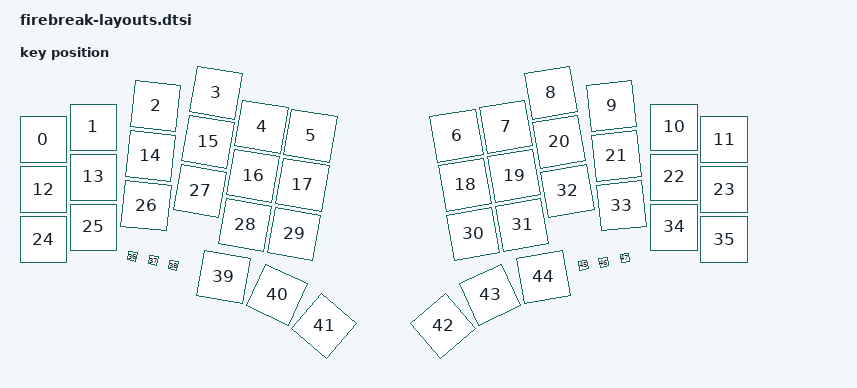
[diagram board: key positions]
// https://zmk.dev/docs/development/hardware-integration/physical-layouts
// https://zmk-physical-layout-converter.streamlit.app/?layout=H4sIAAAAAAACA5VXPY_bMAzd71cYmS-CKIoU1a17gS7tUBQdunUoUCBt0R6C_PfSTk4fLh3FXmI75CPF90jJ56dpOnz_-vLj96-fhzfTWR_1xbu3n95__FCei4m--Xx7M03n6fBXX4Dzz9PhRe-CY0nT5XltEVwgvNl4FxLk9mL956T_8IJzujqkxeF09UgpGKhY4qIT0ts_V_j59lu9naHBV2x0oUCrI3e5WNkDOEg1EtyNdGxDqSfm3cEwwbBWR-6iyOJyt1qg5AQcEOVLScFltKn0RAUlsO8WZDFJi_3p6pBWDkaE6IKPJQtmMDiMLi02N1RgMIDIgUgBkmiJgbQQUoEwxjY9MVDFRSQDtSNetHq0Cza7GIxFd6jZ5TBatIqBWEYEdfJRSll2UQTYaGlLKdBoaWssNH3F6eEODi76XLsqQddWbI4KBqyhhE1NAZRe1QdhU5yluNF5ZN9cr6kGavUFUjFp5WDKK0ccRTi2IVQ5EXfFmFcNYJSjH17eEcCoILN6HuWwh1dxQtzFYjfCYDjCwoYwo8NCotecbTFI7Yl5_rPZs4HYAFo1bVqM7iJ1DbWVd12Z37BAB5hqWyZz9-PF5Nbssd-RxByjSKEENluHdP8NdY3IprBDs6_ZkhPdu2CAo_ZRjEWutZtl3zI7CvxwpvkN-VGDosOCU9OLr0M9Npmyg3oc0WnRO5h19AP4Y-xKSnvQuxbbWiNqPanYeFNlmameSLrdT69o8wqU_0Nd08qU9-GiQ191l4W8UbI-d_GNCKNsjFBs1WLDrpOXSvUWsO6JVE8_oSOs4HbnK6ZYQdPKwYxQyqxTl3bsuhKacZ3D-CBXznGaZbTHLDVbAEQ2O8qHiiPBPA_304hCg4orD7OnKOdRiNVU9znvipEdiVWOtUa8DCsyn_HSoxSuP0jEx10sqktMI0GuPkdyuqfIW4Qvy-_8dHm6_AMUz_zOhg4AAA%3D%3D
// https://zmk-physical-layout-converter.streamlit.app/?layout=H4sIAAAAAAACA5VWTW_bMAy991cYOTeCKIoUtfP-xbBDDxt2KDCga7EVQf77aMfVh8NUsS-RhedHkXyPyulhmg7PT--_317_HL5MJ33Vja8_fj69Pb-WjYLRnW_rzjSdpsM_3fDOP06H92WVMU3nxy0CGgSLhQguEBZMSEHXL7rm5cuXCyQtkJcLJqVg8KCLTIXHryzgKw26vCBWmpj7Jxqk0SFLTSCxQRudLJiFFhwkNojIIYVCJBYPOVkgKw9aNKIFgmuaY8sjWiAY8GQtOht5dURZy86jxPQDoHxV945I17xgdlQe9ORNqlUXx0YYCpKa6y1lQHAccCBDwA5kq7nqHYZ6h5t6B4oFEzhZeucFshY-cfLNA6b40ddiZSFT_uIbXUQhU_DB19Mxgyn45MvxNB0GU_AgUogkkql4FqlEGDthiKn_iGSwbgyQkXbRZheDkfTGDTmMklY8tiISumEHCTjqhGo7JkMnG_3ntEsonRfgHi_A0Ath6IVw0wueqGBCKXznBaKmmYl928xkegGwFi4n0wqMqZJGziOFRFdsoclE-x6optUzRPsa8KHyCJqmoNDwYOjOZl8KlPM16Ua9PuddrNmRWClvpexlmLWiohgt2VJl2dcUlT-V67nVT-cRFRnLLgV1Jgn3mOSWBXRQfOSt8Hn593KdzZL-VZdbEWj6vmlXAh61S32SS6REOyJJaALlMLaXL3Hk_jjo6sjTD_vm2nEYsNZObMsBFFZ9ETatWzSiLsYP8QVqPQdSaQi5HaNk-rj2XvnLcI7N4dhBTVkjdMMZTB97g_IYu6uN9jHmiEbuxzZ5vfwi7sp-bgGA0ZutoQlg1B2A1iICnwqq59d_iHmfpuaBke51yTaY-LjLKPPgudf7fSwdZRA_c_8a6vvyO7-dH87_AddPk_7PDQAA
#include <physical_layouts.dtsi>

/ {
    physical_layout0: physical_layout_0 {
        compatible = "zmk,physical-layout";
        display-name = "Default";

        kscan = <&kscan0>;
        transform = <&keymap_transform0>;

        keys  //                     w   h    x    y     rot    rx    ry
            = <&key_physical_attrs 100 100    0   94       0     0     0>
            , <&key_physical_attrs 100 100  100   69       0     0     0>
            , <&key_physical_attrs 100 100  225   27     600   275    77>
            , <&key_physical_attrs 100 100  346    0    1000   396    50>
            , <&key_physical_attrs 100 100  437   68    1000   487   118>
            , <&key_physical_attrs 100 100  535   86    1000   585   136>
            , <&key_physical_attrs 100 100  827   86 (-1000)   877   136>
            , <&key_physical_attrs 100 100  926   68 (-1000)   976   118>
            , <&key_physical_attrs 100 100 1016    0 (-1000)  1066    50>
            , <&key_physical_attrs 100 100 1137   27  (-600)  1187    77>
            , <&key_physical_attrs 100 100 1262   69       0     0     0>
            , <&key_physical_attrs 100 100 1362   94       0     0     0>
            , <&key_physical_attrs 100 100    0  194       0     0     0>
            , <&key_physical_attrs 100 100  100  169       0     0     0>
            , <&key_physical_attrs 100 100  215  127     600   265   177>
            , <&key_physical_attrs 100 100  330   98    1000   380   148>
            , <&key_physical_attrs 100 100  420  166    1000   470   216>
            , <&key_physical_attrs 100 100  519  184    1000   569   234>
            , <&key_physical_attrs 100 100  844  184 (-1000)   894   234>
            , <&key_physical_attrs 100 100  942  166 (-1000)   992   216>
            , <&key_physical_attrs 100 100 1032   98 (-1000)  1082   148>
            , <&key_physical_attrs 100 100 1147  127  (-600)  1197   177>
            , <&key_physical_attrs 100 100 1262  169       0     0     0>
            , <&key_physical_attrs 100 100 1362  194       0     0     0>
            , <&key_physical_attrs 100 100    0  294       0     0     0>
            , <&key_physical_attrs 100 100  100  269       0     0     0>
            , <&key_physical_attrs 100 100  206  226     600   256   276>
            , <&key_physical_attrs 100 100  314  197    1000   364   247>
            , <&key_physical_attrs 100 100  404  265    1000   454   315>
            , <&key_physical_attrs 100 100  502  283    1000   552   333>
            , <&key_physical_attrs 100 100  860  283 (-1000)   910   333>
            , <&key_physical_attrs 100 100  958  265 (-1000)  1008   315>
            , <&key_physical_attrs 100 100 1049  197 (-1000)  1099   247>
            , <&key_physical_attrs 100 100 1157  226  (-600)  1207   276>
            , <&key_physical_attrs 100 100 1262  269       0     0     0>
            , <&key_physical_attrs 100 100 1362  294       0     0     0>
            , <&key_physical_attrs  25  25  217  367    1000   241   372>
            , <&key_physical_attrs  25  25  259  375    1000   282   379>
            , <&key_physical_attrs  25  25  300  385    1000   323   387>
            , <&key_physical_attrs 100 100  361  369    1000   411   419>
            , <&key_physical_attrs 100 100  468  404    2500   518   454>
            , <&key_physical_attrs 100 100  562  467    4000   612   517>
            , <&key_physical_attrs 100 100  800  467 (-4000)   850   517>
            , <&key_physical_attrs 100 100  894  404 (-2500)   944   454>
            , <&key_physical_attrs 100 100 1001  369 (-1000)  1051   419>
            , <&key_physical_attrs  25  25 1117  381 (-1000)  1139   387>
            , <&key_physical_attrs  25  25 1157  375 (-1000)  1180   379>
            , <&key_physical_attrs  25  25 1200  367 (-1000)  1221   372>
            ;
    };
};
